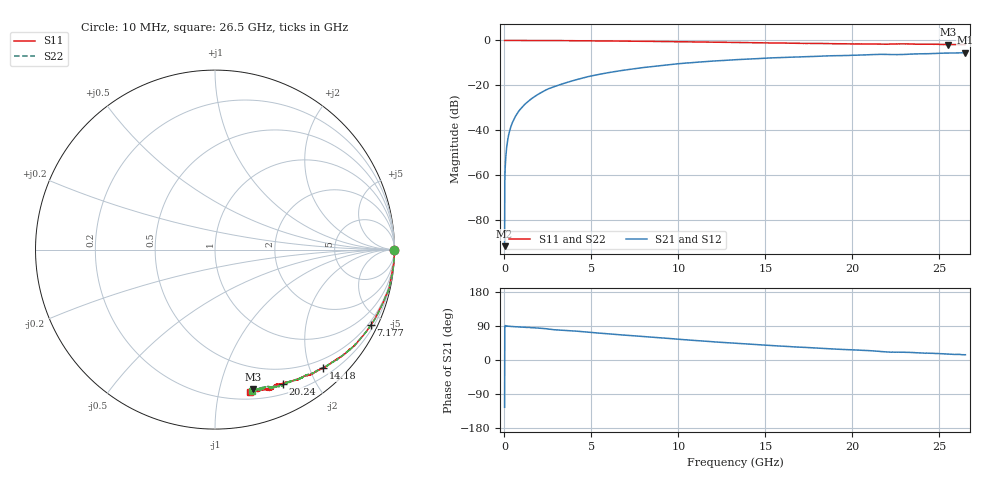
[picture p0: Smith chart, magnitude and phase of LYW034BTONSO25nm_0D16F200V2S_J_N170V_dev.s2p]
!Keysight Technologies,N5222B,MY61253708,A.15.00.15
!Date: Wednesday, June 19, 2024 10:24:04
!Correction: S11(C  2-Port  )
!S21(C  2-Port  )
!S12(C  2-Port  )
!S22(C  2-Port  )
!S2P File: Measurements: S11, S21, S12, S22:
# Hz S  RI  R 50
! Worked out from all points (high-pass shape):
!   2651 points, 10 MHz to 26.5 GHz, reference 50 ohm
!   highest |S21| = -5.44 dB at 26.5 GHz (marker M1); lowest = -91.6 dB at 10 MHz (marker M2)
!   |S21| within 3 dB of the highest: 13.58127 GHz to 13.60608 GHz (24.81 MHz wide, 0.182 % of centre); 13.63 GHz to end of sweep
!   lowest |S11| = -1.9 dB at 25.5 GHz (marker M3), VSWR 9.27, Z = 14.4 - j63.5 ohm
!   |S11| at or under -10 dB: nowhere
!   |S22| runs from -1.8 to 0.0 dB; largest |S21 - S12| = 0.0064
!   S11 on the Smith chart (normalised r, x): 10 MHz: open; 7.177 GHz: 0.36, -4.32; 14.18 GHz: 0.34, -2.22; 20.24 GHz: 0.32, -1.59; 26.5 GHz: 0.26, -1.24
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1e7  0.9987 -0.00302  -1.5e-05 -2.16e-05  0.000288 0.000259  0.9985 -0.00212
1.499472e8  1 -0.0105  4.84e-05 0.00487  6.17e-05 0.00489  0.9996 -0.01
1.799358e8  1 -0.0117  6.28e-05 0.00587  6.81e-05 0.00589  0.9996 -0.0112
2.199208e8  1 -0.0147  0.000106 0.00715  0.000106 0.00718  0.9994 -0.0139
3.098868e8  0.9996 -0.0205  0.000165 0.0101  0.000216 0.0101  0.9993 -0.0197
4.298415e8  0.9992 -0.0284  0.000385 0.014  0.000435 0.014  0.9996 -0.0276
5.797849e8  0.9984 -0.0377  0.000693 0.0188  0.000713 0.0188  0.9989 -0.0371
7.59717e8  0.9983 -0.0495  0.0012 0.0246  0.00121 0.0247  0.9985 -0.0492
1.049608e9  0.9975 -0.0696  0.0021 0.0337  0.00209 0.0338  0.9962 -0.0679
1.399475e9  0.9915 -0.0936  0.00303 0.0451  0.0031 0.0451  0.9939 -0.0897
2.28914e9  0.9835 -0.1469  0.00909 0.0749  0.00919 0.0751  0.9849 -0.1473
3.148815e9  0.9727 -0.2006  0.0196 0.1004  0.0197 0.1007  0.9736 -0.1998
4.428332e9  0.9445 -0.2763  0.0371 0.1393  0.0372 0.1396  0.9463 -0.2738
7.177294e9  0.8675 -0.4216  0.0965 0.2045  0.0976 0.2047  0.8693 -0.4204
8.846664e9  0.8093 -0.4968  0.1409 0.2341  0.1418 0.2342  0.8107 -0.4956
1.3255e10  0.6371 -0.6383  0.2659 0.26  0.2675 0.2593  0.6402 -0.6375
1.418465e10  0.6024 -0.6606  0.29 0.2576  0.291 0.2565  0.6041 -0.6568
1.767333e10  0.4676 -0.7204  0.3716 0.2346  0.3744 0.2327  0.4764 -0.7181
2.024236e10  0.3804 -0.7468  0.4228 0.2077  0.425 0.2057  0.3928 -0.745
2.209166e10  0.3329 -0.7565  0.4551 0.1745  0.4564 0.1715  0.3251 -0.7623
2.550038e10  0.213 -0.7766  0.5051 0.1391  0.5061 0.1388  0.2323 -0.7785
2.65e10  0.1936 -0.7911  0.5187 0.1282  0.5177 0.1242  0.2057 -0.7889
